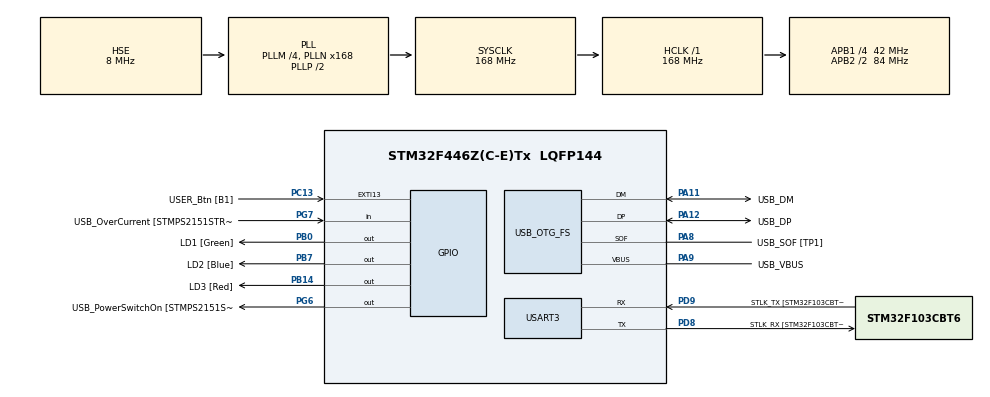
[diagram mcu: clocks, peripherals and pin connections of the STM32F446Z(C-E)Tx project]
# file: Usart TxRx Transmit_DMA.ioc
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Mcu.Family=STM32F4
NVIC.USART3_IRQn=true\:0\:0\:true\:false\:true\:true\:true
PH0-OSC_IN.Signal=RCC_OSC_IN
Dma.USART3_RX.0.PeriphInc=DMA_PINC_DISABLE
RCC.CortexFreq_Value=168000000
PG6.Signal=GPIO_Output
Dma.USART3_TX.1.MemInc=DMA_MINC_ENABLE
PB14.GPIO_Label=LD3 [Red]
PG6.GPIO_Label=USB_PowerSwitchOn [STMPS2151STR_EN]
PA14.GPIO_Label=TCK
RCC.SYSCLKSourceVirtual=RCC_SYSCLKSOURCE_PLLCLK
Dma.USART3_TX.1.PeriphDataAlignment=DMA_PDATAALIGN_BYTE
PA11.Mode=Device_Only
PB0.GPIO_Label=LD1 [Green]
Dma.USART3_TX.1.Instance=DMA1_Stream3
PC13.GPIO_Label=USER_Btn [B1]
PD9.Mode=Asynchronous
RCC.SYSCLKSource=RCC_SYSCLKSOURCE_PLLCLK
ProjectManager.StackSize=0x400
PA12.Signal=USB_OTG_FS_DP
RCC.HCLKFreq_Value=168000000
RCC.APB2TimFreq_Value=168000000
PD8.Signal=USART3_TX
RCC.AHBFreq_Value=168000000
PH0-OSC_IN.Mode=HSE-External-Clock-Source
PH0-OSC_IN.GPIO_Label=MCO [STM32F103CBT6_PA8]
RCC.HSE_VALUE=8000000
Dma.USART3_RX.0.MemDataAlignment=DMA_MDATAALIGN_BYTE
Dma.USART3_TX.1.Mode=DMA_NORMAL
RCC.PLLMUL=RCC_PLL_MUL9
PC14-OSC32_IN.Mode=LSE-External-Oscillator
PA14.Mode=Serial_Wire
Dma.USART3_RX.0.PeriphDataAlignment=DMA_PDATAALIGN_BYTE
PA10.GPIO_Label=USB_ID
PB7.Signal=GPIO_Output
Dma.USART3_RX.0.FIFOMode=DMA_FIFOMODE_DISABLE
PA8.Signal=USB_OTG_FS_SOF
Dma.USART3_TX.1.FIFOMode=DMA_FIFOMODE_DISABLE
Dma.USART3_TX.1.Priority=DMA_PRIORITY_LOW
PB7.GPIO_Label=LD2 [Blue]
PH1-OSC_OUT.Mode=HSE-External-Clock-Source
Dma.USART3_RX.0.Direction=DMA_PERIPH_TO_MEMORY
Mcu.Package=LQFP144
PA10.Signal=USB_OTG_FS_ID
USB_OTG_FS.VirtualMode=Device_Only
Dma.USART3_RX.0.MemInc=DMA_MINC_ENABLE
RCC.APB2CLKDivider=RCC_HCLK_DIV2
Dma.Request1=USART3_TX
RCC.APB1TimFreq_Value=84000000
Dma.USART3_TX.1.PeriphInc=DMA_PINC_DISABLE
Dma.Request0=USART3_RX
Dma.USART3_RX.0.Instance=DMA1_Stream1
PC15-OSC32_OUT.Mode=LSE-External-Oscillator
Dma.USART3_TX.1.MemDataAlignment=DMA_MDATAALIGN_BYTE
PG7.Signal=GPIO_Input
PD9.GPIO_Label=STLK_TX [STM32F103CBT6_PA2]
PC13.Signal=GPXTI13
PA9.GPIO_Label=USB_VBUS
PA11.GPIO_Label=USB_DM
PD9.Signal=USART3_RX
NVIC.DMA1_Stream1_IRQn=true\:0\:0\:false\:false\:true\:false\:true
RCC.APB1CLKDivider=RCC_HCLK_DIV4
PC14-OSC32_IN.Signal=RCC_OSC32_IN
PA12.GPIO_Label=USB_DP
Dma.USART3_RX.0.Mode=DMA_NORMAL
PD8.GPIO_Label=STLK_RX [STM32F103CBT6_PA3]
PA13.Signal=SYS_JTMS-SWDIO
PA9.Mode=Activate_VBUS
PA8.GPIO_Label=USB_SOF [TP1]
ProjectManager.TargetToolchain=STM32CubeIDE
PA9.Signal=USB_OTG_FS_VBUS
RCC.USBFreq_Value=48000000
PC15-OSC32_OUT.Signal=RCC_OSC32_OUT
PD8.Mode=Asynchronous
PB14.Signal=GPIO_Output
board=NUCLEO-F446ZE
RCC.VCOOutputFreq_Value=336000000
RCC.APB2Freq_Value=84000000
RCC.PRESCALERUSB=RCC_USBCLKSOURCE_PLL_DIV1_5
PG7.GPIO_Label=USB_OverCurrent [STMPS2151STR_FAULT]
PH1-OSC_OUT.Signal=RCC_OSC_OUT
PA13.Mode=Serial_Wire
Mcu.Name=STM32F446Z(C-E)Tx
PA13.GPIO_Label=TMS
RCC.48MHZClocksFreq_Value=24000000
RCC.SYSCLKFreq_VALUE=168000000
Dma.USART3_RX.0.Priority=DMA_PRIORITY_LOW
PA12.Mode=Device_Only
USART3.VirtualMode=VM_ASYNC
PA11.Signal=USB_OTG_FS_DM
PA14.Signal=SYS_JTCK-SWCLK
ProjectManager.HeapSize=0x200
RCC.HSI_VALUE=16000000
RCC.PLLQ=7
NVIC.PriorityGroup=NVIC_PRIORITYGROUP_1
Dma.USART3_TX.1.Direction=DMA_MEMORY_TO_PERIPH
RCC.PLLM=4
RCC.PLLN=168
NVIC.DMA1_Stream3_IRQn=true\:0\:0\:false\:false\:true\:false\:true
PA8.Mode=Activate_SOF_FS
RCC.APB1Freq_Value=42000000
PB0.Signal=GPIO_Output

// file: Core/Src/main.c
/* USER CODE BEGIN Header */
/**
  ******************************************************************************
  * @file           : main.c
  * @brief          : Main program body
  ******************************************************************************
  * @attention
  *
  * <h2><center>&copy; Copyright (c) 2021 STMicroelectronics.
  * All rights reserved.</center></h2>
  *
  * This software component is licensed by ST under BSD 3-Clause license,
  * the "License"; You may not use this file except in compliance with the
  * License. You may obtain a copy of the License at:
  *                        opensource.org/licenses/BSD-3-Clause
  *
  ******************************************************************************
  */
/* USER CODE END Header */
#include "main.h"

/* USER CODE BEGIN Includes */
#include <string.h>
/* USER CODE END Includes */

UART_HandleTypeDef huart3;
DMA_HandleTypeDef hdma_usart3_rx;
DMA_HandleTypeDef hdma_usart3_tx;

PCD_HandleTypeDef hpcd_USB_OTG_FS;

void SystemClock_Config(void);
static void MX_GPIO_Init(void);
static void MX_DMA_Init(void);
static void MX_USART3_UART_Init(void);
static void MX_USB_OTG_FS_PCD_Init(void);

/* USER CODE BEGIN 0 */
uint8_t dataArrived = 0;
uint8_t data[4] = "";

/* USER CODE END 0 */

int main(void)
{

  /* MCU Configuration--------------------------------------------------------*/

  /* Reset of all peripherals, Initializes the Flash interface and the Systick. */
  HAL_Init();

  /* Configure the system clock */
  SystemClock_Config();

  /* Initialize all configured peripherals */
  MX_GPIO_Init();
  MX_DMA_Init();
  MX_USART3_UART_Init();
  MX_USB_OTG_FS_PCD_Init();

  /* Infinite loop */
  /* USER CODE BEGIN WHILE */
  HAL_UART_Transmit(&huart3, (uint8_t *)"Tx / Rx con DMA:\r\n\r\n", strlen("Tx / Rx con DMA:\r\n\r\n"), HAL_MAX_DELAY);

  HAL_UART_Receive_DMA(&huart3, data, 4 );

  HAL_Delay( 1000 );
  HAL_GPIO_TogglePin(GPIOB, GPIO_PIN_0);
  HAL_Delay( 1000 );
  HAL_GPIO_TogglePin(GPIOB, GPIO_PIN_0);
  HAL_Delay( 1000 );
  HAL_GPIO_TogglePin(GPIOB, GPIO_PIN_0);

  while ( !dataArrived );

  while (1)
  {
	  HAL_Delay( 1000 );
	  HAL_UART_Transmit_DMA(&huart3, (uint8_t *)"Suscribete, gracias..\r\n", strlen("Suscribete, gracias..\r\n") );
	  HAL_Delay( 1000 );
	  HAL_GPIO_TogglePin(GPIOB, GPIO_PIN_7);

    /* USER CODE END WHILE */

  }
}

void SystemClock_Config(void)
{
  RCC_OscInitTypeDef RCC_OscInitStruct = {0};
  RCC_ClkInitTypeDef RCC_ClkInitStruct = {0};
  RCC_PeriphCLKInitTypeDef PeriphClkInitStruct = {0};

  /** Configure the main internal regulator output voltage
  */
  __HAL_RCC_PWR_CLK_ENABLE();
  __HAL_PWR_VOLTAGESCALING_CONFIG(PWR_REGULATOR_VOLTAGE_SCALE1);
  /** Initializes the RCC Oscillators according to the specified parameters
  * in the RCC_OscInitTypeDef structure.
  */
  RCC_OscInitStruct.OscillatorType = RCC_OSCILLATORTYPE_HSE;
  RCC_OscInitStruct.HSEState = RCC_HSE_BYPASS;
  RCC_OscInitStruct.PLL.PLLState = RCC_PLL_ON;
  RCC_OscInitStruct.PLL.PLLSource = RCC_PLLSOURCE_HSE;
  RCC_OscInitStruct.PLL.PLLM = 4;
  RCC_OscInitStruct.PLL.PLLN = 168;
  RCC_OscInitStruct.PLL.PLLP = RCC_PLLP_DIV2;
  RCC_OscInitStruct.PLL.PLLQ = 7;
  RCC_OscInitStruct.PLL.PLLR = 2;
  if (HAL_RCC_OscConfig(&RCC_OscInitStruct) != HAL_OK)
  {
    Error_Handler();
  }
  /** Initializes the CPU, AHB and APB buses clocks
  */
  RCC_ClkInitStruct.ClockType = RCC_CLOCKTYPE_HCLK|RCC_CLOCKTYPE_SYSCLK
                              |RCC_CLOCKTYPE_PCLK1|RCC_CLOCKTYPE_PCLK2;
  RCC_ClkInitStruct.SYSCLKSource = RCC_SYSCLKSOURCE_PLLCLK;
  RCC_ClkInitStruct.AHBCLKDivider = RCC_SYSCLK_DIV1;
  RCC_ClkInitStruct.APB1CLKDivider = RCC_HCLK_DIV4;
  RCC_ClkInitStruct.APB2CLKDivider = RCC_HCLK_DIV2;

  if (HAL_RCC_ClockConfig(&RCC_ClkInitStruct, FLASH_LATENCY_5) != HAL_OK)
  {
    Error_Handler();
  }
  PeriphClkInitStruct.PeriphClockSelection = RCC_PERIPHCLK_CLK48;
  PeriphClkInitStruct.Clk48ClockSelection = RCC_CLK48CLKSOURCE_PLLQ;
  if (HAL_RCCEx_PeriphCLKConfig(&PeriphClkInitStruct) != HAL_OK)
  {
    Error_Handler();
  }
}

static void MX_USART3_UART_Init(void)
{

  huart3.Instance = USART3;
  huart3.Init.BaudRate = 115200;
  huart3.Init.WordLength = UART_WORDLENGTH_8B;
  huart3.Init.StopBits = UART_STOPBITS_1;
  huart3.Init.Parity = UART_PARITY_NONE;
  huart3.Init.Mode = UART_MODE_TX_RX;
  huart3.Init.HwFlowCtl = UART_HWCONTROL_NONE;
  huart3.Init.OverSampling = UART_OVERSAMPLING_16;
  if (HAL_UART_Init(&huart3) != HAL_OK)
  {
    Error_Handler();
  }

}

static void MX_USB_OTG_FS_PCD_Init(void)
{

  hpcd_USB_OTG_FS.Instance = USB_OTG_FS;
  hpcd_USB_OTG_FS.Init.dev_endpoints = 6;
  hpcd_USB_OTG_FS.Init.speed = PCD_SPEED_FULL;
  hpcd_USB_OTG_FS.Init.dma_enable = DISABLE;
  hpcd_USB_OTG_FS.Init.phy_itface = PCD_PHY_EMBEDDED;
  hpcd_USB_OTG_FS.Init.Sof_enable = ENABLE;
  hpcd_USB_OTG_FS.Init.low_power_enable = DISABLE;
  hpcd_USB_OTG_FS.Init.lpm_enable = DISABLE;
  hpcd_USB_OTG_FS.Init.vbus_sensing_enable = ENABLE;
  hpcd_USB_OTG_FS.Init.use_dedicated_ep1 = DISABLE;
  if (HAL_PCD_Init(&hpcd_USB_OTG_FS) != HAL_OK)
  {
    Error_Handler();
  }

}

static void MX_DMA_Init(void)
{

  /* DMA controller clock enable */
  __HAL_RCC_DMA1_CLK_ENABLE();

  /* DMA interrupt init */
  /* DMA1_Stream1_IRQn interrupt configuration */
  HAL_NVIC_SetPriority(DMA1_Stream1_IRQn, 0, 0);
  HAL_NVIC_EnableIRQ(DMA1_Stream1_IRQn);
  /* DMA1_Stream3_IRQn interrupt configuration */
  HAL_NVIC_SetPriority(DMA1_Stream3_IRQn, 0, 0);
  HAL_NVIC_EnableIRQ(DMA1_Stream3_IRQn);

}

static void MX_GPIO_Init(void)
{
  GPIO_InitTypeDef GPIO_InitStruct = {0};

  /* GPIO Ports Clock Enable */
  __HAL_RCC_GPIOC_CLK_ENABLE();
  __HAL_RCC_GPIOH_CLK_ENABLE();
  __HAL_RCC_GPIOB_CLK_ENABLE();
  __HAL_RCC_GPIOD_CLK_ENABLE();
  __HAL_RCC_GPIOG_CLK_ENABLE();
  __HAL_RCC_GPIOA_CLK_ENABLE();

  /*Configure GPIO pin Output Level */
  HAL_GPIO_WritePin(GPIOB, LD1_Pin|LD3_Pin|LD2_Pin, GPIO_PIN_RESET);

  /*Configure GPIO pin Output Level */
  HAL_GPIO_WritePin(USB_PowerSwitchOn_GPIO_Port, USB_PowerSwitchOn_Pin, GPIO_PIN_RESET);

  /*Configure GPIO pin : USER_Btn_Pin */
  GPIO_InitStruct.Pin = USER_Btn_Pin;
  GPIO_InitStruct.Mode = GPIO_MODE_IT_RISING;
  GPIO_InitStruct.Pull = GPIO_NOPULL;
  HAL_GPIO_Init(USER_Btn_GPIO_Port, &GPIO_InitStruct);

  /*Configure GPIO pins : LD1_Pin LD3_Pin LD2_Pin */
  GPIO_InitStruct.Pin = LD1_Pin|LD3_Pin|LD2_Pin;
  GPIO_InitStruct.Mode = GPIO_MODE_OUTPUT_PP;
  GPIO_InitStruct.Pull = GPIO_NOPULL;
  GPIO_InitStruct.Speed = GPIO_SPEED_FREQ_LOW;
  HAL_GPIO_Init(GPIOB, &GPIO_InitStruct);

  /*Configure GPIO pin : USB_PowerSwitchOn_Pin */
  GPIO_InitStruct.Pin = USB_PowerSwitchOn_Pin;
  GPIO_InitStruct.Mode = GPIO_MODE_OUTPUT_PP;
  GPIO_InitStruct.Pull = GPIO_NOPULL;
  GPIO_InitStruct.Speed = GPIO_SPEED_FREQ_LOW;
  HAL_GPIO_Init(USB_PowerSwitchOn_GPIO_Port, &GPIO_InitStruct);

  /*Configure GPIO pin : USB_OverCurrent_Pin */
  GPIO_InitStruct.Pin = USB_OverCurrent_Pin;
  GPIO_InitStruct.Mode = GPIO_MODE_INPUT;
  GPIO_InitStruct.Pull = GPIO_NOPULL;
  HAL_GPIO_Init(USB_OverCurrent_GPIO_Port, &GPIO_InitStruct);

}

/* USER CODE BEGIN 4 */

void HAL_UART_RxHalfCpltCallback(UART_HandleTypeDef *huart)
{
	HAL_UART_Transmit(&huart3, (uint8_t *)"Hola\n\r", strlen("Hola\n\r"), HAL_MAX_DELAY);
	//HAL_UART_Transmit_IT(&huart3, (uint8_t *)" Mundo\n\r", strlen(" Mundo\n\r"), HAL_MAX_DELAY);
}

void HAL_UART_RxCpltCallback(UART_HandleTypeDef *huart)
{
	dataArrived = 1;
}

/* USER CODE END 4 */

void Error_Handler(void)
{
  __disable_irq();
  while (1)
  {
  }
}

/************************ (C) COPYRIGHT STMicroelectronics *****END OF FILE****/
